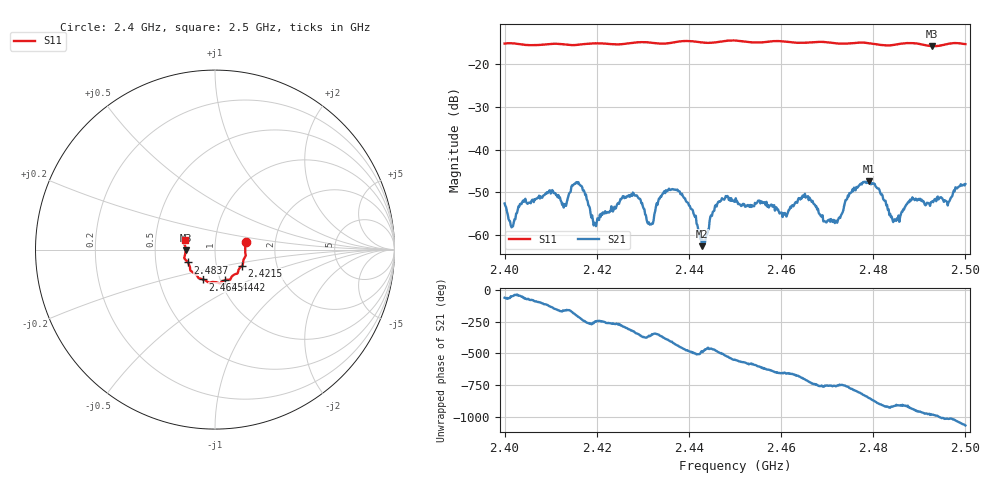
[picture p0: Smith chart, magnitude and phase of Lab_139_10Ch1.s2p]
# Hz S RI R 50
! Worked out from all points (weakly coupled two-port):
!   601 points, 2.4 GHz to 2.5 GHz, reference 50 ohm
!   highest |S21| = -47.36 dB at 2.479 GHz (marker M1); lowest = -62.6 dB at 2.4428 GHz (marker M2)
!   lowest |S11| = -15.7 dB at 2.4928 GHz (marker M3), VSWR 1.39, Z = 35.9 - j0.361 ohm
!   |S11| at or under -10 dB: start of sweep to end of sweep
!   S12 and S22 are empty: the file has one direction only
!   S11 on the Smith chart (normalised r, x): 2.4 GHz: 1.41, +0.12; 2.4215 GHz: 1.33, -0.25; 2.4442 GHz: 1.05, -0.37; 2.4645 GHz: 0.83, -0.29; 2.4837 GHz: 0.73, -0.11; 2.5 GHz: 0.71, +0.08
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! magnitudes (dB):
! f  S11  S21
! 2.4 GHz  -15.1  -52.6
! 2.4015 GHz  -15.0  -58.2
! 2.404 GHz  -15.4  -51.9
! 2.4167 GHz  -15.3  -48.5
! 2.4193 GHz  -15.1  -57.7
! 2.4215 GHz  -15.1  -54.8
! 2.4283 GHz  -14.9  -50.8
! 2.4317 GHz  -14.9  -57.5
! 2.4333 GHz  -15.1  -52.1
! 2.438 GHz  -14.6  -49.8
! 2.4428 GHz  -14.9  -62.6
! 2.4442 GHz  -15.0  -58.7
! 2.45 GHz  -14.4  -52.2
! 2.4608 GHz  -14.7  -54.8
! 2.4645 GHz  -15.0  -51.4
! 2.4667 GHz  -14.8  -52.2
! 2.472 GHz  -15.1  -56.7
! 2.479 GHz  -15.0  -47.4
! 2.4833 GHz  -15.6  -53.9
! 2.4837 GHz  -15.5  -55.0
! 2.4928 GHz  -15.7  -52.1
! 2.5 GHz  -15.2  -48.1
